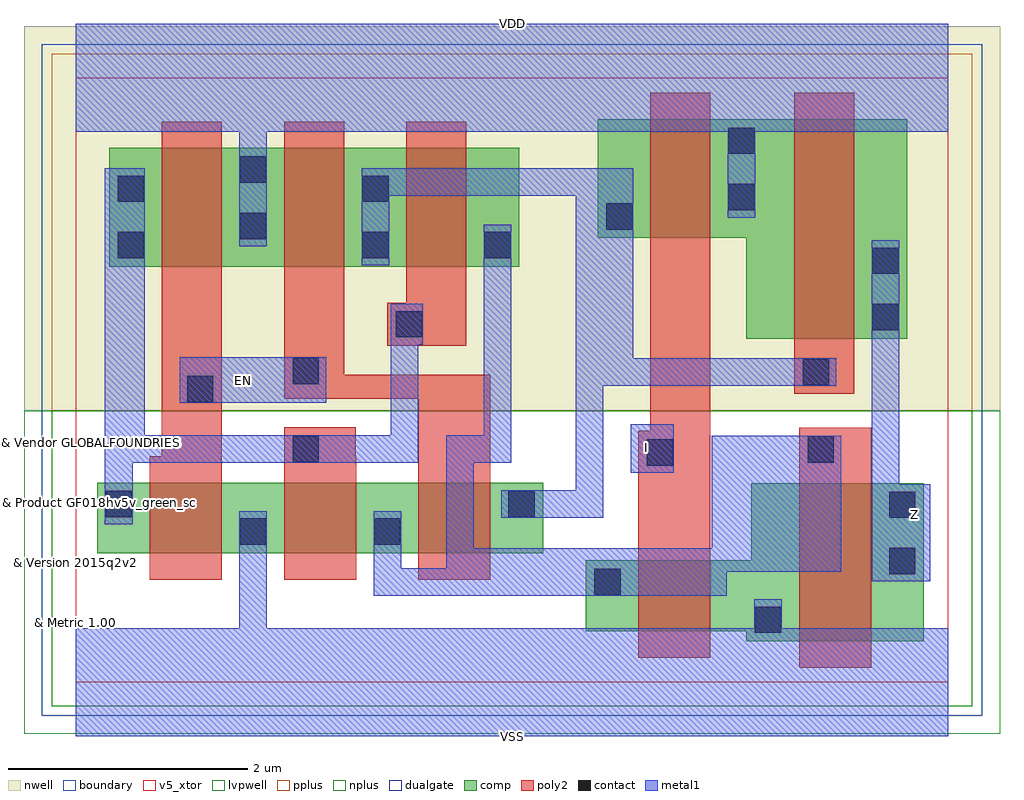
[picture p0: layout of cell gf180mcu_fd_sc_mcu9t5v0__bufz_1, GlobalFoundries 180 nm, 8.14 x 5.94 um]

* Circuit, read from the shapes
.subckt gf180mcu_fd_sc_mcu9t5v0__bufz_1 EN I VDD VSS Z
XM1 VSS EN n1 VSUBS nfet_05v0 w=0.59u l=0.6u
XM2 n2 n1 VSS VSUBS nfet_05v0 w=0.59u l=0.6u
XM3 n3 EN n2 VSUBS nfet_05v0 w=0.59u l=0.6u
XM4 VSS I n2 VSUBS nfet_05v0 w=0.59u l=0.6u
XM5 Z n2 VSS VSUBS nfet_05v0 w=1.32u l=0.6u
XM6 VDD EN n1 n4 pfet_05v0 w=0.99u l=0.5u
XM7 n3 EN VDD n4 pfet_05v0 w=0.99u l=0.5u
XM8 n2 n1 n3 n4 pfet_05v0 w=0.99u l=0.5u
XM9 VDD I n3 n4 pfet_05v0 w=0.99u l=0.5u
XM10 Z n3 VDD n4 pfet_05v0 w=1.83u l=0.5u
.ends

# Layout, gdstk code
import gdstk
lib = gdstk.Library(unit=1e-6, precision=1e-09)
def R(c, l, rs):  # rectangles x0, y0, x1, y1
    for r in rs: c.add(gdstk.rectangle(r[:2], r[2:], *l))
def P(c, l, *ps):  # polygons
    for p in ps: c.add(gdstk.Polygon(p, *l))
boundary = (0, 0)
nwell = (21, 0)
comp = (22, 0)
poly2 = (30, 0)
pplus = (31, 0)
nplus = (32, 0)
contact = (33, 0)
metal1 = (34, 0)
dualgate = (55, 0)
v5_xtor = (112, 1)
lvpwell = (204, 0)

gf180mcu_fd_sc_mcu9t5v0_ = lib.new_cell('gf180mcu_fd_sc_mcu9t5v0__bufz_1')
R(gf180mcu_fd_sc_mcu9t5v0_, boundary, [(0,0,7.28,5.04)])
R(gf180mcu_fd_sc_mcu9t5v0_, nwell, [(-0.43,2.265,7.71,5.47)])
R(gf180mcu_fd_sc_mcu9t5v0_, comp, [(0.18,1.075,3.9,1.665), (0.28,3.465,3.7,4.455)])
P(gf180mcu_fd_sc_mcu9t5v0_, comp, [(5.595,2.865),(5.595,3.705),(4.355,3.705),(4.355,4.695),(6.935,4.695),(6.935,2.865)],
  [(5.595,0.34),(5.595,0.425),(4.255,0.425),(4.255,1.015),(5.635,1.015),(5.635,1.66),(7.075,1.66),(7.075,0.34)])
R(gf180mcu_fd_sc_mcu9t5v0_, poly2, [(6.035,0.12,6.635,2.12), (5.995,2.405,6.495,4.915)])
P(gf180mcu_fd_sc_mcu9t5v0_, poly2, [(0.62,0.855),(0.62,1.885),(0.72,1.885),(0.72,4.675),(1.22,4.675),(1.22,0.855)],
  [(1.74,0.855),(1.74,2.125),(2.335,2.125),(2.335,1.885),(2.34,1.885),(2.34,0.855)],
  [(2.6,2.805),(2.6,3.165),(2.76,3.165),(2.76,4.675),(3.26,4.675),(3.26,2.805)],
  [(2.86,0.855),(2.86,2.365),(1.74,2.365),(1.74,4.675),(2.24,4.675),(2.24,2.565),(3.46,2.565),(3.46,0.855)],
  [(4.695,0.205),(4.695,2.095),(4.795,2.095),(4.795,4.915),(5.295,4.915),(5.295,0.205)])
R(gf180mcu_fd_sc_mcu9t5v0_, pplus, [(-0.2,2.265,7.48,5.24)])
R(gf180mcu_fd_sc_mcu9t5v0_, nplus, [(-0.2,-0.2,7.48,2.265)])
R(gf180mcu_fd_sc_mcu9t5v0_, contact, [(5.665,0.41,5.885,0.63), (4.325,0.725,4.545,0.945), (6.785,0.9,7.005,1.12), (1.37,1.145,1.59,1.365), (2.49,1.145,2.71,1.365), (6.785,1.37,7.005,1.59), (0.25,1.375,0.47,1.595), (3.61,1.375,3.83,1.595), (4.765,1.805,4.985,2.025), (6.105,1.83,6.325,2.05), (1.81,1.835,2.03,2.055), (0.93,2.335,1.15,2.555), (6.065,2.475,6.285,2.695), (1.81,2.485,2.03,2.705), (2.67,2.875,2.89,3.095), (6.645,2.935,6.865,3.155), (6.645,3.405,6.865,3.625), (0.35,3.535,0.57,3.755), (2.39,3.535,2.61,3.755), (3.41,3.535,3.63,3.755), (1.37,3.695,1.59,3.915), (4.425,3.775,4.645,3.995), (5.445,3.935,5.665,4.155), (0.35,4.005,0.57,4.225), (2.39,4.005,2.61,4.225), (1.37,4.165,1.59,4.385), (5.445,4.405,5.665,4.625)])
R(gf180mcu_fd_sc_mcu9t5v0_, metal1, [(4.63,1.745,4.99,2.15), (0.87,2.33,2.09,2.71)])
P(gf180mcu_fd_sc_mcu9t5v0_, metal1, [(0.245,1.315),(0.245,4.285),(0.575,4.285),(0.575,2.06),(2.63,2.06),(2.63,3.155),(2.895,3.155),(2.895,2.815),(2.86,2.815),(2.86,1.83),(0.475,1.83),(0.475,1.315)],
  [(3.55,1.37),(3.55,1.6),(4.17,1.6),(4.17,4.055),(2.615,4.055),(2.615,3.475),(2.385,3.475),(2.385,4.285),(4.65,4.285),(4.65,2.7),(6.345,2.7),(6.345,2.47),(4.4,2.47),(4.4,1.37)],
  [(2.485,0.72),(2.485,1.425),(2.715,1.425),(2.715,0.95),(3.09,0.95),(3.09,2.06),(3.405,2.06),(3.405,3.815),(3.635,3.815),(3.635,1.83),(3.32,1.83),(3.32,1.115),(5.305,1.115),(5.305,2.055),(6.385,2.055),(6.385,0.92),(5.43,0.92),(5.43,0.72)],
  [(6.64,0.84),(6.64,3.685),(6.87,3.685),(6.87,1.65),(7.13,1.65),(7.13,0.84)],
  [(0,-0.45),(0,0.45),(1.365,0.45),(1.365,1.425),(1.595,1.425),(1.595,0.45),(5.66,0.45),(5.66,0.69),(5.89,0.69),(5.89,0.45),(7.28,0.45),(7.28,-0.45)],
  [(1.365,3.635),(1.365,4.59),(0,4.59),(0,5.49),(7.28,5.49),(7.28,4.59),(5.67,4.59),(5.67,3.875),(5.44,3.875),(5.44,4.59),(1.595,4.59),(1.595,3.635)])
R(gf180mcu_fd_sc_mcu9t5v0_, dualgate, [(-0.28,-0.28,7.56,5.32)])
R(gf180mcu_fd_sc_mcu9t5v0_, v5_xtor, [(0,0,7.28,5.04)])
R(gf180mcu_fd_sc_mcu9t5v0_, lvpwell, [(-0.43,-0.43,7.71,2.265)])
gf180mcu_fd_sc_mcu9t5v0_.add(gdstk.Label('EN', (1.4,2.52), layer=34, texttype=10))
gf180mcu_fd_sc_mcu9t5v0_.add(gdstk.Label('I', (4.76,1.96), layer=34, texttype=10))
gf180mcu_fd_sc_mcu9t5v0_.add(gdstk.Label('VDD', (3.64,5.49), layer=34, texttype=10))
gf180mcu_fd_sc_mcu9t5v0_.add(gdstk.Label('VSS', (3.64,-0.45), layer=34, texttype=10))
gf180mcu_fd_sc_mcu9t5v0_.add(gdstk.Label('Z', (7,1.4), layer=34, texttype=10))
gf180mcu_fd_sc_mcu9t5v0_.add(gdstk.Label('& Vendor GLOBALFOUNDRIES', (0,2), layer=63, texttype=63))
gf180mcu_fd_sc_mcu9t5v0_.add(gdstk.Label('& Product GF018hv5v_green_sc9', (0,1.5), layer=63, texttype=63))
gf180mcu_fd_sc_mcu9t5v0_.add(gdstk.Label('& Version 2015q2v2', (0,1), layer=63, texttype=63))
gf180mcu_fd_sc_mcu9t5v0_.add(gdstk.Label('& Metric 1.00', (0,0.5), layer=63, texttype=63))

lib.write_gds('gf180mcu_fd_sc_mcu9t5v0__bufz_1.gds')
